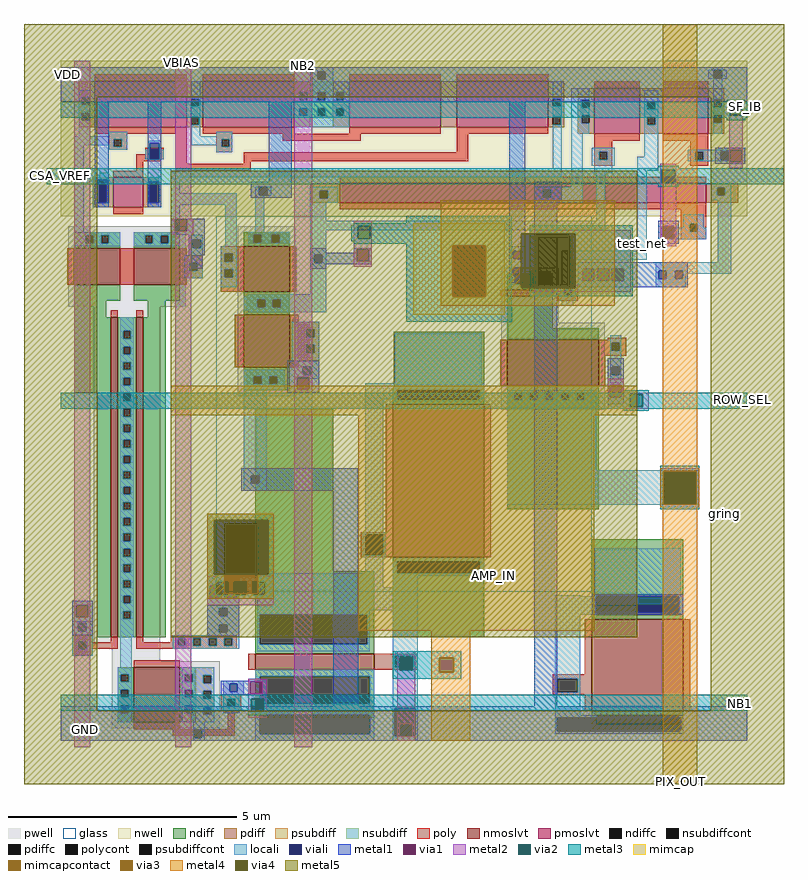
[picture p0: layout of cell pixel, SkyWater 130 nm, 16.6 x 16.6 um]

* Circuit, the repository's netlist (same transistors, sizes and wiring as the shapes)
* NGSPICE file created from /home/hni/TopMetalSe-OpenMPW6/mag/pixel.ext - technology: sky130A

.subckt x/home/hni/TopMetalSe-OpenMPW6/mag/pixel gring test_net VREF ROW_SEL NB1 VBIAS
+ NB2 AMP_IN SF_IB PIX_OUT CSA_VREF VDD GND
X0 GND GND GND GND sky130_fd_pr__nfet_01v8_lvt ad=2.52844e+13p pd=5.625e+07u as=0p ps=0u w=2e+06u l=2e+06u
X1 VDD VDD VDD VDD sky130_fd_pr__pfet_01v8_lvt ad=1.57e+12p pd=1.23e+07u as=0p ps=0u w=650000u l=650000u
X2 a_4120_n520# VBIAS a_4120_n750# GND sky130_fd_pr__nfet_01v8_lvt ad=3.5e+11p pd=2.7e+06u as=3.99e+12p ps=1.76e+07u w=1e+06u l=800000u
X3 test_net a_4600_n810# GND VDD sky130_fd_pr__pfet_01v8_lvt ad=5e+11p pd=3e+06u as=8.3e+11p ps=5.9e+06u w=1e+06u l=1e+06u
X4 VDD SF_IB test_net VDD sky130_fd_pr__pfet_01v8_lvt ad=0p pd=0u as=0p ps=0u w=1e+06u l=1e+06u
X5 a_5460_10# a_4350_10# VDD VDD sky130_fd_pr__pfet_01v8_lvt ad=3.5e+11p pd=2.7e+06u as=0p ps=0u w=1e+06u l=2e+06u
X6 a_3860_n520# VBIAS a_3860_n1150# GND sky130_fd_pr__nfet_01v8_lvt ad=3.5e+11p pd=2.7e+06u as=3.52e+12p ps=1.76e+07u w=1e+06u l=800000u
X7 VDD a_4120_n520# a_4600_n810# GND sky130_fd_pr__nfet_01v8_lvt ad=1.15e+12p pd=8.3e+06u as=5e+11p ps=3e+06u w=1e+06u l=1e+06u
X8 a_4350_10# a_3860_n520# a_3860_n520# VDD sky130_fd_pr__pfet_01v8_lvt ad=3.5e+11p pd=2.7e+06u as=3.5e+11p ps=2.7e+06u w=1e+06u l=2e+06u
X9 a_4120_n750# AMP_IN a_4050_n2590# GND sky130_fd_pr__nfet_01v8_lvt ad=0p pd=0u as=3.22e+12p ps=1.79e+07u w=7e+06u l=150000u
X10 GND GND GND GND sky130_fd_pr__nfet_01v8_lvt ad=0p pd=0u as=0p ps=0u w=2e+06u l=3.35e+06u
X11 a_4120_n520# a_3860_n520# a_5460_10# VDD sky130_fd_pr__pfet_01v8_lvt ad=3.5e+11p pd=2.7e+06u as=0p ps=0u w=1e+06u l=2e+06u
X12 GND NB1 a_4050_n2590# GND sky130_fd_pr__nfet_01v8_lvt ad=0p pd=0u as=0p ps=0u w=1.2e+06u l=1e+06u
X13 a_5750_n920# ROW_SEL PIX_OUT GND sky130_fd_pr__nfet_01v8_lvt ad=1.2e+12p pd=5.9e+06u as=5.4e+12p ps=9.4e+06u w=2e+06u l=1e+06u
X14 a_4050_n2590# VREF a_3860_n1150# GND sky130_fd_pr__nfet_01v8_lvt ad=0p pd=0u as=0p ps=0u w=7e+06u l=150000u
X15 a_4600_n810# NB2 GND GND sky130_fd_pr__nfet_01v8_lvt ad=0p pd=0u as=0p ps=0u w=1e+06u l=1.15e+06u
X16 AMP_IN a_4600_n810# sky130_fd_pr__cap_mim_m3_1 l=2e+06u w=2e+06u
X17 VDD a_4350_10# a_4350_10# VDD sky130_fd_pr__pfet_01v8_lvt ad=0p pd=0u as=0p ps=0u w=1e+06u l=2e+06u
X18 VDD test_net a_5750_n920# GND sky130_fd_pr__nfet_01v8_lvt ad=0p pd=0u as=0p ps=0u w=1e+06u l=150000u
X19 AMP_IN CSA_VREF a_4600_n810# VDD sky130_fd_pr__pfet_01v8_lvt ad=2.94e+11p pd=2.24e+06u as=2.73e+11p ps=2.14e+06u w=420000u l=8e+06u
X20 GND GND GND GND sky130_fd_pr__nfet_01v8_lvt ad=0p pd=0u as=0p ps=0u w=2.6e+06u l=350000u
.ends

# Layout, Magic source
magic
tech sky130A
magscale 1 2
<< nwell >>
rect 3800 -380 6800 300
<< pwell >>
rect 3834 -776 4346 -424
rect 3944 -2246 4236 -776
rect 4574 -1166 4826 -424
rect 5724 -844 5976 -604
rect 5724 -1226 6176 -844
rect 4024 -2324 4236 -2246
rect 4024 -2616 4496 -2324
<< pmoslvt >>
rect 3950 10 4350 210
rect 4420 10 4820 210
rect 5060 10 5460 210
rect 5530 10 5930 210
rect 6130 -20 6330 180
rect 6430 -20 6630 180
rect 4030 -340 4160 -210
rect 5020 -320 6620 -236
<< nmoslvt >>
rect 3860 -680 4060 -520
rect 4120 -680 4320 -520
rect 4600 -710 4800 -510
rect 5750 -730 5950 -700
rect 4020 -2220 4050 -820
rect 4130 -2220 4160 -820
rect 4600 -1040 4800 -810
rect 5750 -1120 6150 -920
rect 5250 -1870 5650 -1200
rect 4120 -2590 4320 -2350
rect 4650 -2360 5170 -2290
rect 6120 -2540 6520 -2140
<< ndiff >>
rect 3860 -463 4060 -450
rect 3860 -497 3909 -463
rect 3943 -497 3977 -463
rect 4011 -497 4060 -463
rect 3860 -520 4060 -497
rect 4120 -463 4320 -450
rect 4120 -497 4169 -463
rect 4203 -497 4237 -463
rect 4271 -497 4320 -463
rect 4120 -520 4320 -497
rect 4600 -461 4800 -450
rect 4600 -495 4643 -461
rect 4677 -495 4723 -461
rect 4757 -495 4800 -461
rect 4600 -510 4800 -495
rect 3860 -750 4060 -680
rect 4120 -750 4320 -680
rect 5750 -643 5950 -630
rect 5750 -677 5783 -643
rect 5817 -677 5863 -643
rect 5897 -677 5950 -643
rect 5750 -700 5950 -677
rect 4600 -743 4800 -710
rect 3860 -820 4000 -750
rect 4180 -820 4260 -750
rect 4600 -777 4659 -743
rect 4693 -777 4727 -743
rect 4761 -777 4800 -743
rect 4600 -810 4800 -777
rect 3860 -1150 4020 -820
rect 3960 -2220 4020 -1150
rect 4050 -881 4130 -820
rect 4050 -915 4073 -881
rect 4107 -915 4130 -881
rect 4050 -949 4130 -915
rect 4050 -983 4073 -949
rect 4107 -983 4130 -949
rect 4050 -1017 4130 -983
rect 4050 -1051 4073 -1017
rect 4107 -1051 4130 -1017
rect 4050 -1085 4130 -1051
rect 4050 -1119 4073 -1085
rect 4107 -1119 4130 -1085
rect 4050 -1153 4130 -1119
rect 4050 -1187 4073 -1153
rect 4107 -1187 4130 -1153
rect 4050 -1221 4130 -1187
rect 4050 -1255 4073 -1221
rect 4107 -1255 4130 -1221
rect 4050 -1289 4130 -1255
rect 4050 -1323 4073 -1289
rect 4107 -1323 4130 -1289
rect 4050 -1357 4130 -1323
rect 4050 -1391 4073 -1357
rect 4107 -1391 4130 -1357
rect 4050 -1425 4130 -1391
rect 4050 -1459 4073 -1425
rect 4107 -1459 4130 -1425
rect 4050 -1493 4130 -1459
rect 4050 -1527 4073 -1493
rect 4107 -1527 4130 -1493
rect 4050 -1561 4130 -1527
rect 4050 -1595 4073 -1561
rect 4107 -1595 4130 -1561
rect 4050 -1629 4130 -1595
rect 4050 -1663 4073 -1629
rect 4107 -1663 4130 -1629
rect 4050 -1697 4130 -1663
rect 4050 -1731 4073 -1697
rect 4107 -1731 4130 -1697
rect 4050 -1765 4130 -1731
rect 4050 -1799 4073 -1765
rect 4107 -1799 4130 -1765
rect 4050 -1833 4130 -1799
rect 4050 -1867 4073 -1833
rect 4107 -1867 4130 -1833
rect 4050 -1901 4130 -1867
rect 4050 -1935 4073 -1901
rect 4107 -1935 4130 -1901
rect 4050 -1969 4130 -1935
rect 4050 -2003 4073 -1969
rect 4107 -2003 4130 -1969
rect 4050 -2037 4130 -2003
rect 4050 -2071 4073 -2037
rect 4107 -2071 4130 -2037
rect 4050 -2105 4130 -2071
rect 4050 -2139 4073 -2105
rect 4107 -2139 4130 -2105
rect 4050 -2220 4130 -2139
rect 4160 -2220 4260 -820
rect 5750 -870 5950 -730
rect 4600 -1078 4800 -1040
rect 4600 -1112 4644 -1078
rect 4678 -1112 4712 -1078
rect 4746 -1112 4800 -1078
rect 4600 -1140 4800 -1112
rect 5255 -1130 5650 -885
rect 5750 -920 6150 -870
rect 5250 -1140 5650 -1130
rect 5250 -1180 5270 -1140
rect 5630 -1180 5650 -1140
rect 5250 -1200 5650 -1180
rect 5750 -1148 6150 -1120
rect 5750 -1182 5782 -1148
rect 5816 -1182 5850 -1148
rect 5884 -1182 5918 -1148
rect 5952 -1182 5986 -1148
rect 6020 -1182 6054 -1148
rect 6088 -1182 6150 -1148
rect 4650 -1930 4990 -1220
rect 5750 -1660 6150 -1182
rect 5250 -1890 5650 -1870
rect 4650 -2120 5170 -1930
rect 4650 -2250 4670 -2120
rect 5140 -2250 5170 -2120
rect 5250 -1940 5270 -1890
rect 5630 -1940 5650 -1890
rect 5250 -2220 5650 -1940
rect 6120 -2080 6520 -1790
rect 6120 -2120 6140 -2080
rect 6500 -2120 6520 -2080
rect 6120 -2140 6520 -2120
rect 4650 -2290 5170 -2250
rect 4050 -2380 4120 -2350
rect 4050 -2414 4063 -2380
rect 4097 -2414 4120 -2380
rect 4050 -2448 4120 -2414
rect 4050 -2482 4063 -2448
rect 4097 -2482 4120 -2448
rect 4050 -2516 4120 -2482
rect 4050 -2550 4063 -2516
rect 4097 -2550 4120 -2516
rect 4050 -2590 4120 -2550
rect 4320 -2380 4390 -2350
rect 4320 -2414 4343 -2380
rect 4377 -2414 4390 -2380
rect 4320 -2448 4390 -2414
rect 4320 -2482 4343 -2448
rect 4377 -2482 4390 -2448
rect 4320 -2516 4390 -2482
rect 4650 -2390 5170 -2360
rect 4320 -2550 4343 -2516
rect 4377 -2550 4390 -2516
rect 4320 -2590 4390 -2550
rect 4650 -2510 4670 -2390
rect 5150 -2510 5170 -2390
rect 4650 -2570 5170 -2510
rect 6120 -2560 6520 -2540
rect 6120 -2600 6140 -2560
rect 6500 -2600 6520 -2560
rect 6120 -2620 6520 -2600
<< pdiff >>
rect 3880 141 3950 210
rect 3880 107 3893 141
rect 3927 107 3950 141
rect 3880 73 3950 107
rect 3880 39 3893 73
rect 3927 39 3950 73
rect 3880 10 3950 39
rect 4350 134 4420 210
rect 4350 100 4370 134
rect 4404 100 4420 134
rect 4350 54 4420 100
rect 4350 20 4370 54
rect 4404 20 4420 54
rect 4350 10 4420 20
rect 4820 161 4890 210
rect 4990 161 5060 210
rect 4820 127 4843 161
rect 4877 127 4890 161
rect 4990 127 5003 161
rect 5037 127 5060 161
rect 4820 93 4890 127
rect 4990 93 5060 127
rect 4820 59 4843 93
rect 4877 59 4890 93
rect 4990 59 5003 93
rect 5037 59 5060 93
rect 4820 10 4890 59
rect 4990 10 5060 59
rect 5460 10 5530 210
rect 5930 134 6000 210
rect 5930 100 5950 134
rect 5984 100 6000 134
rect 5930 54 6000 100
rect 5930 20 5950 54
rect 5984 20 6000 54
rect 5930 10 6000 20
rect 6060 129 6130 180
rect 6060 95 6076 129
rect 6110 95 6130 129
rect 6060 61 6130 95
rect 6060 27 6076 61
rect 6110 27 6130 61
rect 6060 -20 6130 27
rect 6330 121 6430 180
rect 6330 87 6363 121
rect 6397 87 6430 121
rect 6330 53 6430 87
rect 6330 19 6363 53
rect 6397 19 6430 53
rect 6330 -20 6430 19
rect 6630 131 6700 180
rect 6630 97 6653 131
rect 6687 97 6700 131
rect 6630 63 6700 97
rect 6630 29 6653 63
rect 6687 29 6700 63
rect 6630 -20 6700 29
rect 3940 -220 4030 -210
rect 3940 -320 3970 -220
rect 4010 -320 4030 -220
rect 3940 -340 4030 -320
rect 4160 -230 4230 -210
rect 4160 -320 4180 -230
rect 4220 -320 4230 -230
rect 4890 -268 5020 -236
rect 4890 -302 4933 -268
rect 4967 -302 5020 -268
rect 4890 -320 5020 -302
rect 6620 -255 6760 -236
rect 6620 -289 6668 -255
rect 6702 -289 6760 -255
rect 6620 -320 6760 -289
rect 4160 -340 4230 -320
<< ndiffc >>
rect 3909 -497 3943 -463
rect 3977 -497 4011 -463
rect 4169 -497 4203 -463
rect 4237 -497 4271 -463
rect 4643 -495 4677 -461
rect 4723 -495 4757 -461
rect 5783 -677 5817 -643
rect 5863 -677 5897 -643
rect 4659 -777 4693 -743
rect 4727 -777 4761 -743
rect 4073 -915 4107 -881
rect 4073 -983 4107 -949
rect 4073 -1051 4107 -1017
rect 4073 -1119 4107 -1085
rect 4073 -1187 4107 -1153
rect 4073 -1255 4107 -1221
rect 4073 -1323 4107 -1289
rect 4073 -1391 4107 -1357
rect 4073 -1459 4107 -1425
rect 4073 -1527 4107 -1493
rect 4073 -1595 4107 -1561
rect 4073 -1663 4107 -1629
rect 4073 -1731 4107 -1697
rect 4073 -1799 4107 -1765
rect 4073 -1867 4107 -1833
rect 4073 -1935 4107 -1901
rect 4073 -2003 4107 -1969
rect 4073 -2071 4107 -2037
rect 4073 -2139 4107 -2105
rect 4644 -1112 4678 -1078
rect 4712 -1112 4746 -1078
rect 5270 -1180 5630 -1140
rect 5782 -1182 5816 -1148
rect 5850 -1182 5884 -1148
rect 5918 -1182 5952 -1148
rect 5986 -1182 6020 -1148
rect 6054 -1182 6088 -1148
rect 4670 -2250 5140 -2120
rect 5270 -1940 5630 -1890
rect 6140 -2120 6500 -2080
rect 4063 -2414 4097 -2380
rect 4063 -2482 4097 -2448
rect 4063 -2550 4097 -2516
rect 4343 -2414 4377 -2380
rect 4343 -2482 4377 -2448
rect 4343 -2550 4377 -2516
rect 4670 -2510 5150 -2390
rect 6140 -2600 6500 -2560
<< pdiffc >>
rect 3893 107 3927 141
rect 3893 39 3927 73
rect 4370 100 4404 134
rect 4370 20 4404 54
rect 4843 127 4877 161
rect 5003 127 5037 161
rect 4843 59 4877 93
rect 5003 59 5037 93
rect 5950 100 5984 134
rect 5950 20 5984 54
rect 6076 95 6110 129
rect 6076 27 6110 61
rect 6363 87 6397 121
rect 6363 19 6397 53
rect 6653 97 6687 131
rect 6653 29 6687 63
rect 3970 -320 4010 -220
rect 4180 -320 4220 -230
rect 4933 -302 4967 -268
rect 6668 -289 6702 -255
<< psubdiff >>
rect 4390 -2385 4470 -2350
rect 4390 -2419 4423 -2385
rect 4457 -2419 4470 -2385
rect 4390 -2453 4470 -2419
rect 4390 -2487 4423 -2453
rect 4457 -2487 4470 -2453
rect 4390 -2521 4470 -2487
rect 4390 -2555 4423 -2521
rect 4457 -2555 4470 -2521
rect 4390 -2590 4470 -2555
<< nsubdiff >>
rect 4890 161 4990 210
rect 4890 127 4923 161
rect 4957 127 4990 161
rect 4890 93 4990 127
rect 4890 59 4923 93
rect 4957 59 4990 93
rect 4890 10 4990 59
<< psubdiffcont >>
rect 4423 -2419 4457 -2385
rect 4423 -2487 4457 -2453
rect 4423 -2555 4457 -2521
<< nsubdiffcont >>
rect 4923 127 4957 161
rect 4923 59 4957 93
<< poly >>
rect 3950 210 4350 240
rect 4420 210 4820 240
rect 5060 210 5460 240
rect 5530 210 5930 240
rect 6130 180 6330 210
rect 6430 180 6630 210
rect 3950 -20 4350 10
rect 4420 -20 4820 10
rect 5060 -20 5460 10
rect 5530 -20 5930 10
rect 4010 -43 4090 -20
rect 4010 -77 4033 -43
rect 4067 -77 4090 -43
rect 4010 -90 4090 -77
rect 4170 -90 4250 -80
rect 4170 -110 4190 -90
rect 4130 -130 4190 -110
rect 4230 -130 4250 -90
rect 4130 -140 4240 -130
rect 4130 -180 4160 -140
rect 4300 -150 4350 -20
rect 4480 -43 4550 -20
rect 4480 -77 4503 -43
rect 4537 -77 4550 -43
rect 4770 -50 5110 -20
rect 4480 -100 4550 -77
rect 5530 -100 5580 -20
rect 4600 -140 5580 -100
rect 6130 -50 6330 -20
rect 6430 -50 6630 -20
rect 6130 -98 6210 -50
rect 6130 -132 6153 -98
rect 6187 -132 6210 -98
rect 4600 -150 4630 -140
rect 4300 -180 4630 -150
rect 6130 -160 6210 -132
rect 6550 -98 6630 -50
rect 6550 -132 6573 -98
rect 6607 -132 6630 -98
rect 6550 -160 6630 -132
rect 4030 -210 4160 -180
rect 5020 -236 6620 -208
rect 4030 -370 4160 -340
rect 5020 -350 6620 -320
rect 6510 -413 6620 -350
rect 6510 -447 6548 -413
rect 6582 -447 6620 -413
rect 6510 -480 6620 -447
rect 3830 -680 3860 -520
rect 4060 -680 4120 -520
rect 4320 -550 4350 -520
rect 4500 -544 4600 -510
rect 4320 -583 4420 -550
rect 4320 -617 4363 -583
rect 4397 -617 4420 -583
rect 4320 -650 4420 -617
rect 4500 -578 4518 -544
rect 4552 -578 4600 -544
rect 4500 -612 4600 -578
rect 4500 -646 4518 -612
rect 4552 -646 4600 -612
rect 4320 -680 4350 -650
rect 4500 -710 4600 -646
rect 4800 -710 4830 -510
rect 5970 -698 6060 -680
rect 5970 -700 5998 -698
rect 5720 -730 5750 -700
rect 5950 -730 5998 -700
rect 4020 -820 4050 -790
rect 4130 -820 4160 -790
rect 3850 -2238 3940 -2210
rect 4560 -1040 4600 -810
rect 4800 -840 4840 -810
rect 4800 -874 4930 -840
rect 4800 -908 4873 -874
rect 4907 -908 4930 -874
rect 5970 -732 5998 -730
rect 6032 -732 6060 -698
rect 5970 -750 6060 -732
rect 4800 -942 4930 -908
rect 4800 -976 4873 -942
rect 4907 -976 4930 -942
rect 4800 -1010 4930 -976
rect 4800 -1040 4840 -1010
rect 6190 -920 6270 -910
rect 5720 -1120 5750 -920
rect 6150 -933 6270 -920
rect 6150 -967 6208 -933
rect 6242 -967 6270 -933
rect 6150 -990 6270 -967
rect 6150 -1120 6180 -990
rect 5220 -1760 5250 -1200
rect 5110 -1770 5250 -1760
rect 5110 -1860 5130 -1770
rect 5210 -1860 5250 -1770
rect 5110 -1870 5250 -1860
rect 5650 -1870 5680 -1200
rect 3850 -2272 3878 -2238
rect 3912 -2240 3940 -2238
rect 4020 -2240 4050 -2220
rect 3912 -2270 4050 -2240
rect 4130 -2240 4160 -2220
rect 4280 -2223 4570 -2210
rect 4280 -2240 4311 -2223
rect 4130 -2257 4311 -2240
rect 4345 -2257 4379 -2223
rect 4413 -2257 4447 -2223
rect 4481 -2257 4515 -2223
rect 4549 -2257 4570 -2223
rect 4130 -2270 4570 -2257
rect 3912 -2272 3940 -2270
rect 3850 -2300 3940 -2272
rect 4120 -2350 4320 -2320
rect 4620 -2360 4650 -2290
rect 5170 -2300 5360 -2290
rect 5170 -2350 5260 -2300
rect 5340 -2350 5360 -2300
rect 5170 -2360 5360 -2350
rect 6090 -2380 6120 -2140
rect 4500 -2488 4590 -2470
rect 4500 -2522 4528 -2488
rect 4562 -2522 4590 -2488
rect 4500 -2540 4590 -2522
rect 5950 -2400 6120 -2380
rect 5950 -2460 5970 -2400
rect 6060 -2460 6120 -2400
rect 5950 -2470 6120 -2460
rect 4510 -2550 4580 -2540
rect 4120 -2620 4320 -2590
rect 4530 -2620 4560 -2550
rect 6090 -2540 6120 -2470
rect 6520 -2540 6550 -2140
rect 4290 -2650 4560 -2620
<< polycont >>
rect 4033 -77 4067 -43
rect 4190 -130 4230 -90
rect 4503 -77 4537 -43
rect 6153 -132 6187 -98
rect 6573 -132 6607 -98
rect 6548 -447 6582 -413
rect 4363 -617 4397 -583
rect 4518 -578 4552 -544
rect 4518 -646 4552 -612
rect 4873 -908 4907 -874
rect 5998 -732 6032 -698
rect 4873 -976 4907 -942
rect 6208 -967 6242 -933
rect 5130 -1860 5210 -1770
rect 3878 -2272 3912 -2238
rect 4311 -2257 4345 -2223
rect 4379 -2257 4413 -2223
rect 4447 -2257 4481 -2223
rect 4515 -2257 4549 -2223
rect 5260 -2350 5340 -2300
rect 4528 -2522 4562 -2488
rect 5970 -2460 6060 -2400
<< locali >>
rect 4890 252 4990 270
rect 6650 260 6690 270
rect 4890 218 4923 252
rect 4957 218 4990 252
rect 6630 257 6710 260
rect 6630 223 6653 257
rect 6687 223 6710 257
rect 6630 220 6710 223
rect 4890 210 4990 218
rect 3880 141 3930 170
rect 3880 107 3893 141
rect 3927 107 3930 141
rect 3880 73 3930 107
rect 3880 39 3893 73
rect 3927 39 3930 73
rect 3880 -30 3930 39
rect 4370 134 4410 210
rect 4404 100 4410 134
rect 4370 54 4410 100
rect 4404 20 4410 54
rect 4010 -30 4090 -10
rect 3860 -43 4090 -30
rect 3860 -70 4033 -43
rect 3860 -450 3900 -70
rect 4010 -77 4033 -70
rect 4067 -77 4090 -43
rect 4370 -30 4410 20
rect 4820 161 5060 210
rect 4820 127 4843 161
rect 4877 127 4923 161
rect 4957 127 5003 161
rect 5037 127 5060 161
rect 4820 93 5060 127
rect 4820 59 4843 93
rect 4877 59 4923 93
rect 4957 59 5003 93
rect 5037 59 5060 93
rect 4820 10 5060 59
rect 5950 134 5990 210
rect 5984 100 5990 134
rect 5950 54 5990 100
rect 5984 20 5990 54
rect 4480 -30 4550 -10
rect 4370 -43 4550 -30
rect 4010 -90 4090 -77
rect 4180 -60 4240 -50
rect 4180 -90 4190 -60
rect 4230 -90 4240 -60
rect 4370 -70 4503 -43
rect 4480 -77 4503 -70
rect 4537 -77 4550 -43
rect 4170 -130 4190 -90
rect 4230 -130 4250 -90
rect 4480 -100 4550 -77
rect 5950 -170 5990 20
rect 3970 -210 4010 -190
rect 4280 -210 5990 -170
rect 6030 129 6110 180
rect 6030 95 6076 129
rect 6030 61 6110 95
rect 6030 27 6076 61
rect 6030 -20 6110 27
rect 6350 121 6410 170
rect 6350 87 6363 121
rect 6397 87 6410 121
rect 6350 53 6410 87
rect 6350 19 6363 53
rect 6397 19 6410 53
rect 3940 -220 4010 -210
rect 3940 -320 3960 -220
rect 3940 -340 4010 -320
rect 4180 -230 4230 -210
rect 4180 -340 4230 -320
rect 4280 -280 4320 -210
rect 6030 -250 6080 -20
rect 6120 -98 6220 -80
rect 6120 -132 6153 -98
rect 6187 -132 6220 -98
rect 6350 -120 6410 19
rect 6650 131 6690 220
rect 6650 97 6653 131
rect 6687 97 6690 131
rect 6650 63 6690 97
rect 6650 29 6653 63
rect 6687 29 6690 63
rect 6650 -20 6690 29
rect 6120 -160 6220 -132
rect 6130 -190 6210 -160
rect 6320 -180 6410 -120
rect 6540 -98 6720 -90
rect 6540 -132 6573 -98
rect 6607 -132 6683 -98
rect 6717 -132 6720 -98
rect 6540 -140 6720 -132
rect 4650 -253 4720 -250
rect 4280 -330 4570 -280
rect 4280 -450 4320 -330
rect 3860 -463 4060 -450
rect 3860 -497 3909 -463
rect 3943 -497 3977 -463
rect 4011 -497 4060 -463
rect 3860 -510 4060 -497
rect 4120 -463 4320 -450
rect 4120 -497 4169 -463
rect 4203 -497 4237 -463
rect 4271 -497 4320 -463
rect 4120 -510 4320 -497
rect 4370 -483 4420 -460
rect 4370 -517 4378 -483
rect 4412 -517 4420 -483
rect 4520 -510 4570 -330
rect 4650 -287 4668 -253
rect 4702 -287 4720 -253
rect 4650 -290 4720 -287
rect 4890 -268 5010 -250
rect 4650 -450 4690 -290
rect 4890 -302 4933 -268
rect 4967 -302 5010 -268
rect 4890 -320 5010 -302
rect 5870 -263 6080 -250
rect 5870 -297 5908 -263
rect 5942 -297 6080 -263
rect 5870 -320 6080 -297
rect 4890 -400 4960 -320
rect 6140 -400 6180 -190
rect 4890 -440 6180 -400
rect 4620 -461 4800 -450
rect 4620 -495 4643 -461
rect 4677 -495 4723 -461
rect 4757 -495 4800 -461
rect 4620 -500 4800 -495
rect 4370 -550 4420 -517
rect 4340 -583 4420 -550
rect 4340 -617 4363 -583
rect 4397 -617 4420 -583
rect 4340 -650 4420 -617
rect 4500 -544 4570 -510
rect 4500 -578 4518 -544
rect 4552 -578 4570 -544
rect 4500 -612 4570 -578
rect 4500 -646 4518 -612
rect 4552 -646 4570 -612
rect 4500 -690 4570 -646
rect 4890 -548 4960 -440
rect 4890 -582 4908 -548
rect 4942 -582 4960 -548
rect 4890 -720 4960 -582
rect 5760 -532 5830 -510
rect 6320 -530 6360 -180
rect 6640 -255 6730 -236
rect 6640 -289 6668 -255
rect 6702 -289 6730 -255
rect 6640 -310 6730 -289
rect 6520 -413 6610 -370
rect 6520 -430 6548 -413
rect 6430 -438 6548 -430
rect 6430 -472 6438 -438
rect 6472 -447 6548 -438
rect 6582 -430 6610 -413
rect 6582 -447 6620 -430
rect 6472 -472 6620 -447
rect 6430 -480 6620 -472
rect 5760 -566 5778 -532
rect 5812 -566 5830 -532
rect 5760 -604 5830 -566
rect 5760 -638 5778 -604
rect 5812 -620 5830 -604
rect 5990 -570 6360 -530
rect 5812 -638 5940 -620
rect 5760 -643 5940 -638
rect 5760 -677 5783 -643
rect 5817 -677 5863 -643
rect 5897 -677 5940 -643
rect 5760 -680 5940 -677
rect 5990 -680 6040 -570
rect 6670 -580 6730 -310
rect 6400 -618 6730 -580
rect 6400 -652 6412 -618
rect 6446 -652 6484 -618
rect 6518 -630 6730 -618
rect 6518 -652 6530 -630
rect 4620 -730 4960 -720
rect 4600 -743 4960 -730
rect 4600 -777 4659 -743
rect 4693 -777 4727 -743
rect 4761 -777 4960 -743
rect 5980 -698 6050 -680
rect 6400 -690 6530 -652
rect 5980 -732 5998 -698
rect 6032 -732 6050 -698
rect 5980 -750 6050 -732
rect 5990 -770 6040 -750
rect 4600 -790 4960 -777
rect 4620 -800 4960 -790
rect 4060 -881 4120 -820
rect 4060 -915 4073 -881
rect 4107 -915 4120 -881
rect 4060 -949 4120 -915
rect 4060 -983 4073 -949
rect 4107 -983 4120 -949
rect 4060 -1017 4120 -983
rect 4810 -874 4930 -840
rect 4810 -908 4873 -874
rect 4907 -908 4930 -874
rect 4810 -942 4930 -908
rect 4810 -976 4873 -942
rect 4907 -976 4930 -942
rect 4810 -1010 4930 -976
rect 4060 -1051 4073 -1017
rect 4107 -1051 4120 -1017
rect 4820 -1038 4930 -1010
rect 4060 -1085 4120 -1051
rect 4060 -1119 4073 -1085
rect 4107 -1119 4120 -1085
rect 4060 -1153 4120 -1119
rect 4060 -1187 4073 -1153
rect 4107 -1187 4120 -1153
rect 4060 -1221 4120 -1187
rect 4060 -1255 4073 -1221
rect 4107 -1255 4120 -1221
rect 4060 -1289 4120 -1255
rect 4060 -1323 4073 -1289
rect 4107 -1323 4120 -1289
rect 4060 -1357 4120 -1323
rect 4060 -1391 4073 -1357
rect 4107 -1391 4120 -1357
rect 4060 -1425 4120 -1391
rect 4060 -1459 4073 -1425
rect 4107 -1459 4120 -1425
rect 4060 -1493 4120 -1459
rect 4060 -1527 4073 -1493
rect 4107 -1527 4120 -1493
rect 4060 -1561 4120 -1527
rect 4060 -1595 4073 -1561
rect 4107 -1595 4120 -1561
rect 4600 -1078 4780 -1050
rect 4600 -1112 4644 -1078
rect 4678 -1112 4712 -1078
rect 4746 -1112 4780 -1078
rect 4820 -1072 4858 -1038
rect 4892 -1072 4930 -1038
rect 4820 -1090 4930 -1072
rect 5260 -1110 5640 -890
rect 6200 -933 6250 -900
rect 6200 -967 6208 -933
rect 6242 -967 6250 -933
rect 6200 -1038 6250 -967
rect 6200 -1072 6208 -1038
rect 6242 -1072 6250 -1038
rect 6200 -1110 6250 -1072
rect 4600 -1140 4780 -1112
rect 5130 -1140 5650 -1110
rect 4600 -1513 4700 -1140
rect 4600 -1547 4633 -1513
rect 4667 -1547 4700 -1513
rect 4600 -1580 4700 -1547
rect 5130 -1180 5270 -1140
rect 5630 -1180 5650 -1140
rect 5750 -1148 6140 -1140
rect 4060 -1629 4120 -1595
rect 4060 -1663 4073 -1629
rect 4107 -1663 4120 -1629
rect 4060 -1697 4120 -1663
rect 4060 -1731 4073 -1697
rect 4107 -1731 4120 -1697
rect 4060 -1765 4120 -1731
rect 5130 -1760 5210 -1180
rect 5750 -1182 5782 -1148
rect 5816 -1182 5850 -1148
rect 5884 -1182 5918 -1148
rect 5952 -1182 5986 -1148
rect 6020 -1182 6054 -1148
rect 6088 -1182 6140 -1148
rect 5750 -1490 6140 -1182
rect 5750 -1512 6590 -1490
rect 5750 -1618 6452 -1512
rect 6558 -1618 6590 -1512
rect 5750 -1640 6590 -1618
rect 4060 -1799 4073 -1765
rect 4107 -1799 4120 -1765
rect 4060 -1833 4120 -1799
rect 4060 -1867 4073 -1833
rect 4107 -1867 4120 -1833
rect 4060 -1901 4120 -1867
rect 5120 -1770 5220 -1760
rect 5120 -1860 5130 -1770
rect 5210 -1860 5220 -1770
rect 5120 -1870 5220 -1860
rect 4060 -1935 4073 -1901
rect 4107 -1935 4120 -1901
rect 4060 -1969 4120 -1935
rect 5130 -1940 5210 -1870
rect 4060 -2003 4073 -1969
rect 4107 -2003 4120 -1969
rect 4060 -2037 4120 -2003
rect 4060 -2071 4073 -2037
rect 4107 -2071 4120 -2037
rect 4060 -2105 4120 -2071
rect 4660 -2000 5210 -1940
rect 5250 -1940 5270 -1890
rect 5630 -1940 5650 -1890
rect 5250 -1950 5650 -1940
rect 5250 -2000 5360 -1950
rect 4060 -2139 4073 -2105
rect 4107 -2139 4120 -2105
rect 3850 -2158 3940 -2150
rect 3850 -2192 3878 -2158
rect 3912 -2192 3940 -2158
rect 3850 -2238 3940 -2192
rect 3850 -2272 3878 -2238
rect 3912 -2272 3940 -2238
rect 3850 -2300 3940 -2272
rect 4060 -2220 4120 -2139
rect 4440 -2092 4580 -2080
rect 4440 -2126 4493 -2092
rect 4527 -2126 4580 -2092
rect 4440 -2164 4580 -2126
rect 4440 -2198 4493 -2164
rect 4527 -2198 4580 -2164
rect 4440 -2210 4580 -2198
rect 4060 -2350 4110 -2220
rect 4290 -2223 4580 -2210
rect 4290 -2257 4311 -2223
rect 4345 -2257 4379 -2223
rect 4413 -2257 4447 -2223
rect 4481 -2257 4515 -2223
rect 4549 -2257 4580 -2223
rect 4290 -2270 4580 -2257
rect 4660 -2100 5360 -2000
rect 4660 -2120 5150 -2100
rect 4660 -2250 4670 -2120
rect 5140 -2250 5150 -2120
rect 4660 -2280 5150 -2250
rect 5250 -2300 5360 -2100
rect 5250 -2350 5260 -2300
rect 5340 -2350 5360 -2300
rect 4050 -2380 4110 -2350
rect 4050 -2414 4063 -2380
rect 4097 -2414 4110 -2380
rect 4050 -2448 4110 -2414
rect 4050 -2482 4063 -2448
rect 4097 -2482 4110 -2448
rect 4050 -2516 4110 -2482
rect 4050 -2550 4063 -2516
rect 4097 -2550 4110 -2516
rect 4050 -2590 4110 -2550
rect 4330 -2380 4470 -2350
rect 4330 -2414 4343 -2380
rect 4377 -2385 4470 -2380
rect 4377 -2414 4423 -2385
rect 4330 -2419 4423 -2414
rect 4457 -2419 4470 -2385
rect 4650 -2390 5170 -2360
rect 4330 -2448 4470 -2419
rect 4330 -2482 4343 -2448
rect 4377 -2453 4470 -2448
rect 4377 -2482 4423 -2453
rect 4330 -2487 4423 -2482
rect 4457 -2487 4470 -2453
rect 4330 -2516 4470 -2487
rect 4330 -2550 4343 -2516
rect 4377 -2521 4470 -2516
rect 4377 -2550 4423 -2521
rect 4330 -2555 4423 -2550
rect 4457 -2555 4470 -2521
rect 4510 -2423 4600 -2410
rect 4510 -2457 4538 -2423
rect 4572 -2457 4600 -2423
rect 4510 -2470 4600 -2457
rect 4510 -2488 4580 -2470
rect 4510 -2522 4528 -2488
rect 4562 -2522 4580 -2488
rect 4510 -2550 4580 -2522
rect 4650 -2510 4670 -2390
rect 5150 -2510 5170 -2390
rect 4330 -2590 4470 -2555
rect 4650 -2560 5170 -2510
rect 4380 -2623 4430 -2590
rect 4380 -2657 4383 -2623
rect 4417 -2657 4430 -2623
rect 4380 -2670 4430 -2657
rect 4650 -2640 4670 -2560
rect 5150 -2640 5170 -2560
rect 4650 -2670 5170 -2640
rect 5250 -2530 5360 -2350
rect 5250 -2650 5260 -2530
rect 5350 -2650 5360 -2530
rect 5960 -2040 6070 -2035
rect 6130 -2040 6510 -1830
rect 5960 -2120 6140 -2040
rect 6500 -2120 6520 -2040
rect 5960 -2400 6070 -2120
rect 5960 -2460 5970 -2400
rect 6060 -2460 6070 -2400
rect 5960 -2560 6070 -2460
rect 5960 -2570 6140 -2560
rect 6500 -2570 6520 -2560
rect 5960 -2630 5970 -2570
rect 6510 -2630 6520 -2570
rect 5960 -2640 6520 -2630
rect 5250 -2670 5360 -2650
<< viali >>
rect 4923 218 4957 252
rect 6653 223 6687 257
rect 4190 -90 4230 -60
rect 4190 -130 4230 -90
rect 3960 -320 3970 -220
rect 3970 -320 4000 -220
rect 4190 -320 4220 -230
rect 4220 -320 4230 -230
rect 6683 -132 6717 -98
rect 4378 -517 4412 -483
rect 4668 -287 4702 -253
rect 5908 -297 5942 -263
rect 4908 -582 4942 -548
rect 6438 -472 6472 -438
rect 5778 -566 5812 -532
rect 5778 -638 5812 -604
rect 6412 -652 6446 -618
rect 6484 -652 6518 -618
rect 4858 -1072 4892 -1038
rect 6208 -1072 6242 -1038
rect 4633 -1547 4667 -1513
rect 6452 -1618 6558 -1512
rect 3878 -2192 3912 -2158
rect 4493 -2126 4527 -2092
rect 4493 -2198 4527 -2164
rect 4538 -2457 4572 -2423
rect 4383 -2657 4417 -2623
rect 4670 -2640 5150 -2560
rect 5260 -2650 5350 -2530
rect 6140 -2080 6500 -2040
rect 6140 -2110 6500 -2080
rect 5970 -2600 6140 -2570
rect 6140 -2600 6500 -2570
rect 6500 -2600 6510 -2570
rect 5970 -2630 6510 -2600
<< metal1 >>
rect 3800 257 6800 270
rect 3800 252 6653 257
rect 3800 218 4923 252
rect 4957 223 6653 252
rect 6687 223 6800 257
rect 4957 218 6800 223
rect 3800 120 6800 218
rect 3950 -220 4010 120
rect 3950 -320 3960 -220
rect 4000 -320 4010 -220
rect 3950 -340 4010 -320
rect 4180 -60 4240 120
rect 4180 -130 4190 -60
rect 4230 -130 4240 -60
rect 4180 -230 4240 -130
rect 4710 -230 4810 120
rect 4180 -320 4190 -230
rect 4230 -320 4240 -230
rect 4630 -253 4810 -230
rect 4630 -287 4668 -253
rect 4702 -287 4810 -253
rect 4630 -300 4810 -287
rect 4180 -340 4240 -320
rect 4280 -394 4430 -390
rect 4280 -446 4299 -394
rect 4351 -446 4430 -394
rect 4280 -460 4430 -446
rect 4360 -483 4430 -460
rect 4360 -517 4378 -483
rect 4412 -517 4430 -483
rect 4360 -550 4430 -517
rect 4890 -540 4960 -520
rect 5080 -524 5160 -520
rect 5080 -540 5094 -524
rect 4890 -548 5094 -540
rect 4370 -610 4420 -550
rect 4890 -582 4908 -548
rect 4942 -576 5094 -548
rect 5146 -576 5160 -524
rect 4942 -582 5160 -576
rect 4890 -590 5160 -582
rect 5760 -532 5830 120
rect 6660 -89 6790 -80
rect 6660 -98 6724 -89
rect 6660 -132 6683 -98
rect 6717 -132 6724 -98
rect 6660 -141 6724 -132
rect 6776 -141 6790 -89
rect 6660 -150 6790 -141
rect 5760 -566 5778 -532
rect 5812 -566 5830 -532
rect 4890 -610 4960 -590
rect 5760 -604 5830 -566
rect 5760 -638 5778 -604
rect 5812 -638 5830 -604
rect 5760 -670 5830 -638
rect 5870 -263 5990 -230
rect 5870 -297 5908 -263
rect 5942 -297 5990 -263
rect 5870 -320 5990 -297
rect 4790 -1038 4930 -1010
rect 4790 -1072 4858 -1038
rect 4892 -1072 4930 -1038
rect 4790 -1084 4930 -1072
rect 4790 -1136 4834 -1084
rect 4886 -1136 4930 -1084
rect 4790 -1150 4930 -1136
rect 4590 -1513 5100 -1480
rect 4590 -1547 4633 -1513
rect 4667 -1547 5100 -1513
rect 4590 -1580 5100 -1547
rect 4440 -1994 4580 -1950
rect 4440 -2046 4452 -1994
rect 4504 -2046 4516 -1994
rect 4568 -2046 4580 -1994
rect 3850 -2079 3940 -2060
rect 3850 -2131 3869 -2079
rect 3921 -2131 3940 -2079
rect 3850 -2158 3940 -2131
rect 3850 -2192 3878 -2158
rect 3912 -2192 3940 -2158
rect 3850 -2210 3940 -2192
rect 4440 -2092 4580 -2046
rect 4440 -2126 4493 -2092
rect 4527 -2126 4580 -2092
rect 4440 -2164 4580 -2126
rect 4440 -2198 4493 -2164
rect 4527 -2198 4580 -2164
rect 4440 -2220 4580 -2198
rect 4500 -2414 4700 -2410
rect 4500 -2423 4629 -2414
rect 4500 -2457 4538 -2423
rect 4572 -2457 4629 -2423
rect 4500 -2466 4629 -2457
rect 4681 -2466 4700 -2414
rect 4500 -2470 4700 -2466
rect 4990 -2520 5100 -1580
rect 5870 -2520 5970 -320
rect 6410 -424 6500 -400
rect 6410 -476 6429 -424
rect 6481 -476 6500 -424
rect 6410 -500 6500 -476
rect 6060 -609 6540 -580
rect 6060 -661 6080 -609
rect 6132 -661 6144 -609
rect 6196 -661 6208 -609
rect 6260 -618 6540 -609
rect 6260 -652 6412 -618
rect 6446 -652 6484 -618
rect 6518 -652 6540 -618
rect 6260 -661 6540 -652
rect 6060 -690 6540 -661
rect 6190 -1038 6260 -1000
rect 6190 -1072 6208 -1038
rect 6242 -1072 6260 -1038
rect 6190 -1119 6260 -1072
rect 6190 -1171 6199 -1119
rect 6251 -1171 6260 -1119
rect 6190 -1200 6260 -1171
rect 6420 -1507 6590 -1490
rect 6420 -1623 6447 -1507
rect 6563 -1623 6590 -1507
rect 6420 -1640 6590 -1623
rect 6120 -2040 6520 -2030
rect 6120 -2110 6140 -2040
rect 6500 -2110 6520 -2040
rect 6120 -2120 6520 -2110
rect 3800 -2530 6800 -2520
rect 3800 -2560 5260 -2530
rect 3800 -2623 4670 -2560
rect 3800 -2657 4383 -2623
rect 4417 -2640 4670 -2623
rect 5150 -2640 5260 -2560
rect 5350 -2570 6800 -2530
rect 4417 -2650 5260 -2640
rect 5350 -2630 5970 -2570
rect 6510 -2630 6800 -2570
rect 5350 -2650 6800 -2630
rect 4417 -2651 5284 -2650
rect 5336 -2651 6800 -2650
rect 4417 -2657 6800 -2651
rect 3800 -2670 6800 -2657
<< via1 >>
rect 4299 -446 4351 -394
rect 5094 -576 5146 -524
rect 6724 -141 6776 -89
rect 4834 -1136 4886 -1084
rect 4452 -2046 4504 -1994
rect 4516 -2046 4568 -1994
rect 3869 -2131 3921 -2079
rect 4629 -2466 4681 -2414
rect 6429 -438 6481 -424
rect 6429 -472 6438 -438
rect 6438 -472 6472 -438
rect 6472 -472 6481 -438
rect 6429 -476 6481 -472
rect 6080 -661 6132 -609
rect 6144 -661 6196 -609
rect 6208 -661 6260 -609
rect 6199 -1171 6251 -1119
rect 6447 -1512 6563 -1507
rect 6447 -1618 6452 -1512
rect 6452 -1618 6558 -1512
rect 6558 -1618 6563 -1512
rect 6447 -1623 6563 -1618
rect 5284 -2650 5336 -2599
rect 5284 -2651 5336 -2650
<< metal2 >>
rect 3860 -2079 3930 300
rect 4300 -390 4370 300
rect 4280 -394 4380 -390
rect 4280 -446 4299 -394
rect 4351 -446 4380 -394
rect 4280 -460 4380 -446
rect 3860 -2131 3869 -2079
rect 3921 -2131 3930 -2079
rect 3860 -2700 3930 -2131
rect 4300 -2700 4370 -460
rect 4820 -1084 4900 300
rect 6720 118 6780 130
rect 6720 62 6722 118
rect 6778 62 6780 118
rect 6720 -89 6780 62
rect 6720 -141 6724 -89
rect 6776 -141 6780 -89
rect 6420 -177 6490 -150
rect 6720 -170 6780 -141
rect 6420 -233 6427 -177
rect 6483 -233 6490 -177
rect 5080 -422 5160 -400
rect 5080 -478 5097 -422
rect 5153 -478 5160 -422
rect 6420 -424 6490 -233
rect 5080 -524 5160 -478
rect 5080 -576 5094 -524
rect 5146 -576 5160 -524
rect 5080 -600 5160 -576
rect 5870 -472 6290 -440
rect 5870 -688 5887 -472
rect 6023 -609 6290 -472
rect 6420 -476 6429 -424
rect 6481 -476 6490 -424
rect 6420 -510 6490 -476
rect 6023 -661 6080 -609
rect 6132 -661 6144 -609
rect 6196 -661 6208 -609
rect 6260 -661 6290 -609
rect 6023 -688 6290 -661
rect 5870 -710 6290 -688
rect 4820 -1136 4834 -1084
rect 4886 -1136 4900 -1084
rect 4440 -1977 4730 -1950
rect 4440 -1994 4477 -1977
rect 4533 -1994 4557 -1977
rect 4440 -2046 4452 -1994
rect 4613 -2033 4637 -1977
rect 4693 -2033 4730 -1977
rect 4504 -2046 4516 -2033
rect 4568 -2046 4730 -2033
rect 4440 -2080 4730 -2046
rect 4620 -2414 4700 -2400
rect 4620 -2466 4629 -2414
rect 4681 -2466 4700 -2414
rect 4620 -2487 4700 -2466
rect 4620 -2543 4632 -2487
rect 4688 -2543 4700 -2487
rect 4620 -2570 4700 -2543
rect 4820 -2700 4900 -1136
rect 6190 -1119 6260 -1090
rect 6190 -1171 6199 -1119
rect 6251 -1150 6260 -1119
rect 6251 -1157 6370 -1150
rect 6251 -1171 6287 -1157
rect 6190 -1213 6287 -1171
rect 6343 -1213 6370 -1157
rect 6190 -1220 6370 -1213
rect 6420 -1497 6590 -1480
rect 6420 -1633 6437 -1497
rect 6573 -1633 6590 -1497
rect 6420 -1650 6590 -1633
rect 5270 -2307 5350 -2280
rect 5270 -2363 5282 -2307
rect 5338 -2363 5350 -2307
rect 5270 -2599 5350 -2363
rect 5270 -2651 5284 -2599
rect 5336 -2651 5350 -2599
rect 5270 -2670 5350 -2651
<< via2 >>
rect 6722 62 6778 118
rect 6427 -233 6483 -177
rect 5097 -478 5153 -422
rect 5887 -688 6023 -472
rect 4477 -1994 4533 -1977
rect 4557 -1994 4613 -1977
rect 4477 -2033 4504 -1994
rect 4504 -2033 4516 -1994
rect 4516 -2033 4533 -1994
rect 4557 -2033 4568 -1994
rect 4568 -2033 4613 -1994
rect 4637 -2033 4693 -1977
rect 4632 -2543 4688 -2487
rect 6287 -1213 6343 -1157
rect 6437 -1507 6573 -1497
rect 6437 -1623 6447 -1507
rect 6447 -1623 6563 -1507
rect 6563 -1623 6573 -1507
rect 6437 -1633 6573 -1623
rect 5282 -2363 5338 -2307
<< metal3 >>
rect 6710 120 6790 130
rect 3800 118 6800 120
rect 3800 62 6722 118
rect 6778 62 6800 118
rect 3800 50 6800 62
rect 6710 40 6790 50
rect 6410 -170 6500 -160
rect 3740 -177 6960 -170
rect 3740 -233 6427 -177
rect 6483 -233 6960 -177
rect 3740 -240 6960 -233
rect 6410 -250 6500 -240
rect 5310 -410 5770 -380
rect 5080 -420 5770 -410
rect 5070 -422 5770 -420
rect 5070 -478 5097 -422
rect 5153 -478 5770 -422
rect 5070 -490 5770 -478
rect 5080 -500 5770 -490
rect 5310 -840 5770 -500
rect 5850 -463 6300 -420
rect 5850 -687 5878 -463
rect 6022 -472 6300 -463
rect 5850 -688 5887 -687
rect 6023 -688 6300 -472
rect 5850 -730 6300 -688
rect 6260 -1150 6370 -1140
rect 3800 -1157 6800 -1150
rect 3800 -1213 6287 -1157
rect 6343 -1213 6800 -1157
rect 3800 -1220 6800 -1213
rect 6260 -1230 6370 -1220
rect 6420 -1493 6590 -1470
rect 6420 -1637 6433 -1493
rect 6577 -1637 6590 -1493
rect 6420 -1660 6590 -1637
rect 4440 -1723 4730 -1680
rect 4440 -1977 4518 -1723
rect 4662 -1977 4730 -1723
rect 4440 -2033 4477 -1977
rect 4533 -2033 4557 -2027
rect 4613 -2033 4637 -2027
rect 4693 -2033 4730 -1977
rect 4440 -2050 4730 -2033
rect 5250 -2307 5550 -2280
rect 5250 -2363 5282 -2307
rect 5338 -2308 5550 -2307
rect 5338 -2363 5453 -2308
rect 5250 -2372 5453 -2363
rect 5517 -2372 5550 -2308
rect 5250 -2400 5550 -2372
rect 3800 -2487 6800 -2470
rect 3800 -2540 4632 -2487
rect 4620 -2543 4632 -2540
rect 4688 -2540 6800 -2487
rect 4688 -2543 4700 -2540
rect 4620 -2560 4700 -2543
<< via3 >>
rect 5878 -472 6022 -463
rect 5878 -687 5887 -472
rect 5887 -687 6022 -472
rect 6433 -1497 6577 -1493
rect 6433 -1633 6437 -1497
rect 6437 -1633 6573 -1497
rect 6573 -1633 6577 -1497
rect 6433 -1637 6577 -1633
rect 4518 -1977 4662 -1723
rect 4518 -2027 4533 -1977
rect 4533 -2027 4557 -1977
rect 4557 -2027 4613 -1977
rect 4613 -2027 4637 -1977
rect 4637 -2027 4662 -1977
rect 5453 -2372 5517 -2308
<< mimcap >>
rect 5340 -508 5740 -410
rect 5340 -732 5513 -508
rect 5657 -732 5740 -508
rect 5340 -810 5740 -732
<< mimcapcontact >>
rect 5513 -732 5657 -508
<< metal4 >>
rect 5460 -457 6220 -310
rect 5460 -508 5812 -457
rect 5460 -732 5513 -508
rect 5657 -693 5812 -508
rect 6048 -693 6220 -457
rect 5657 -732 6220 -693
rect 5460 -770 6220 -732
rect 4280 -1250 6320 -1120
rect 4440 -1707 4730 -1680
rect 4440 -1943 4472 -1707
rect 4708 -1943 4730 -1707
rect 4440 -2027 4518 -1943
rect 4662 -2027 4730 -1943
rect 4440 -2050 4730 -2027
rect 5100 -2190 6130 -1250
rect 6430 -1480 6580 460
rect 6420 -1493 6590 -1480
rect 6420 -1637 6433 -1493
rect 6577 -1637 6590 -1493
rect 6420 -1650 6590 -1637
rect 5420 -2308 5590 -2190
rect 5420 -2372 5453 -2308
rect 5517 -2372 5590 -2308
rect 5420 -2670 5590 -2372
rect 6430 -2860 6580 -1650
<< via4 >>
rect 5812 -463 6048 -457
rect 5812 -687 5878 -463
rect 5878 -687 6022 -463
rect 6022 -687 6048 -463
rect 5812 -693 6048 -687
rect 4472 -1723 4708 -1707
rect 4472 -1943 4518 -1723
rect 4518 -1943 4662 -1723
rect 4662 -1943 4708 -1723
<< metal5 >>
rect 3640 140 6960 460
rect 3640 -2540 3960 140
rect 4280 -457 6320 -180
rect 4280 -693 5812 -457
rect 6048 -693 6320 -457
rect 4280 -1707 6320 -693
rect 4280 -1943 4472 -1707
rect 4708 -1943 6320 -1707
rect 4280 -2220 6320 -1943
rect 6640 -2540 6960 140
rect 3640 -2860 6960 -2540
<< glass >>
rect 4480 -2020 6120 -380
<< labels >>
rlabel metal5 s 6700 -1680 6700 -1680 4 gring
port 2 nsew
rlabel locali s 6340 -500 6340 -500 4 test_net
port 5 nsew
rlabel metal1 s 3830 240 3830 240 4 VDD
port 7 nsew
rlabel metal1 s 3910 -2620 3910 -2620 4 GND
port 8 nsew
rlabel metal2 s 3870 290 3870 290 4 VREF
port 9 nsew
rlabel metal3 s 6780 -1180 6780 -1180 4 ROW_SEL
port 10 nsew
rlabel metal3 s 6770 -2510 6770 -2510 4 NB1
port 11 nsew
rlabel metal2 s 4330 290 4330 290 4 VBIAS
port 12 nsew
rlabel metal2 s 4860 280 4860 280 4 NB2
port 13 nsew
rlabel metal5 s 5690 -1950 5690 -1950 4 AMP_IN
port 14 nsew
rlabel metal3 s 6790 100 6790 100 4 SF_IB
port 15 nsew
rlabel metal4 s 6510 -2850 6510 -2850 4 PIX_OUT
port 16 nsew
rlabel metal3 s 3800 -200 3800 -200 4 CSA_VREF
port 17 nsew
<< end >>
